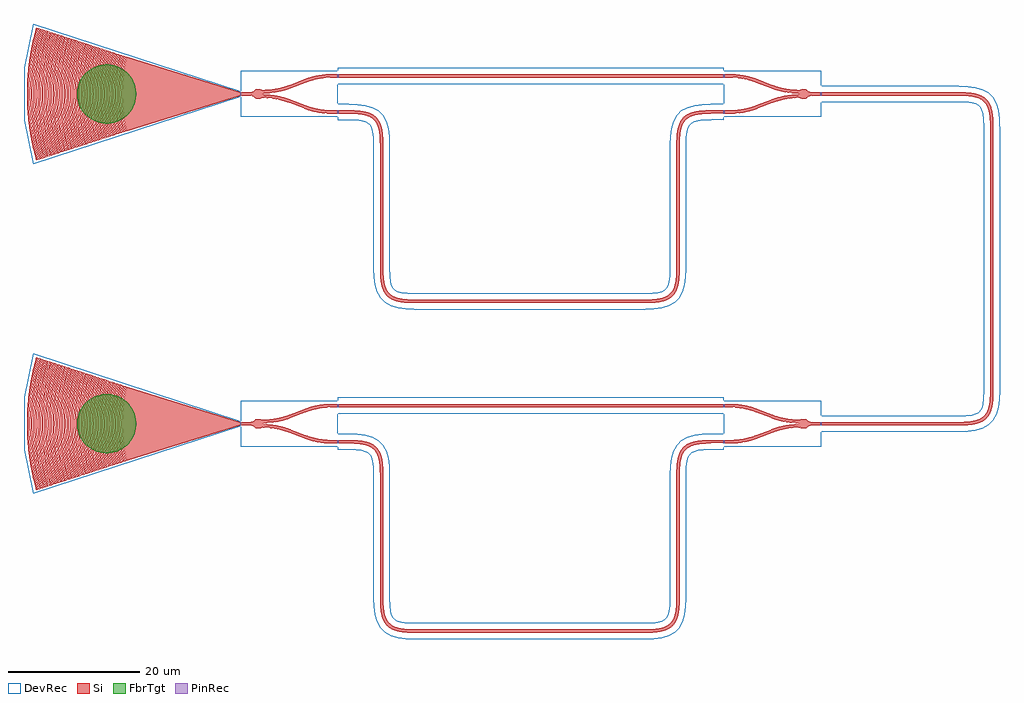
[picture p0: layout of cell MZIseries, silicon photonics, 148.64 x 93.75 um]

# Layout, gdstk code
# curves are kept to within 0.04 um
from math import pi, radians
import gdstk
lib = gdstk.Library(unit=1e-6, precision=1e-09)
def R(c, l, rs):  # rectangles x0, y0, x1, y1
    for r in rs: c.add(gdstk.rectangle(r[:2], r[2:], *l))
def P(c, l, *ps):  # polygons
    for p in ps: c.add(gdstk.Polygon(p, *l))
Si = (1, 0)
PinRec = (1, 10)
DevRec = (68, 0)
FbrTgt = (81, 0)

te1550_subgc_neg31_oxide = lib.new_cell('TE1550_SubGC_neg31_oxide')
P(te1550_subgc_neg31_oxide, Si, [(-17.556,-5.704),(-17.743,-4.914),(-17.881,-4.233),(-18.016,-3.437),(-18.095,-2.866),(-18.165,-2.237),(-18.222,-1.549),(-18.256,-0.918),(-18.274,-0.115),(-18.264,0.689),(-18.233,1.377),(-18.176,2.122),(-18.095,2.866),(-18.016,3.437),(-17.881,4.233),(-17.743,4.914),(-17.556,5.704),(-17.481,5.68),(-17.643,5.006),(-17.784,4.329),(-17.922,3.536),(-18.032,2.74),(-18.104,2.056),(-18.148,1.486),(-18.186,0.686),(-18.196,0.114),(-18.189,-0.572),(-18.165,-1.2),(-18.123,-1.828),(-18.058,-2.512),(-17.948,-3.365),(-17.826,-4.102),(-17.668,-4.893),(-17.481,-5.68)],
  [(-17.906,-5.818),(-18.207,-4.492),(-18.452,-2.982),(-18.601,-1.405),(-18.643,-0.117),(-18.601,1.405),(-18.452,2.982),(-18.207,4.492),(-17.906,5.818),(-17.659,5.738),(-17.932,4.544),(-18.188,2.998),(-18.338,1.443),(-18.383,0.116),(-18.338,-1.443),(-18.188,-2.998),(-17.932,-4.544),(-17.659,-5.738)],
  [(-18.084,-5.876),(-18.24,-5.237),(-18.4,-4.479),(-18.525,-3.776),(-18.629,-3.071),(-18.717,-2.305),(-18.772,-1.656),(-18.811,-0.946),(-18.83,-0.118),(-18.823,0.592),(-18.791,1.36),(-18.739,2.069),(-18.644,2.953),(-18.544,3.658),(-18.4,4.479),(-18.24,5.237),(-18.084,5.876),(-18.01,5.852),(-18.204,5.041),(-18.368,4.227),(-18.503,3.409),(-18.609,2.589),(-18.713,1.354),(-18.745,0.589),(-18.752,0.118),(-18.745,-0.589),(-18.713,-1.354),(-18.609,-2.589),(-18.503,-3.409),(-18.368,-4.227),(-18.204,-5.041),(-18.01,-5.852)],
  [(-18.435,-5.99),(-18.77,-4.506),(-19.001,-3.071),(-19.135,-1.748),(-19.199,-0.121),(-19.159,1.387),(-19.001,3.071),(-18.77,4.506),(-18.435,5.99),(-18.188,5.91),(-18.517,4.445),(-18.744,3.029),(-18.896,1.427),(-18.939,0.119),(-18.896,-1.427),(-18.759,-2.911),(-18.517,-4.445),(-18.188,-5.91)],
  [(-18.613,-6.048),(-18.815,-5.211),(-18.963,-4.49),(-19.099,-3.705),(-19.201,-2.979),(-19.269,-2.373),(-19.338,-1.522),(-19.369,-0.913),(-19.386,-0.122),(-19.377,0.67),(-19.349,1.339),(-19.286,2.191),(-19.201,2.979),(-19.099,3.705),(-18.963,4.49),(-18.815,5.211),(-18.613,6.048),(-18.539,6.024),(-18.713,5.309),(-18.876,4.532),(-19.013,3.751),(-19.131,2.907),(-19.203,2.242),(-19.264,1.455),(-19.291,0.91),(-19.308,0.121),(-19.299,-0.667),(-19.271,-1.334),(-19.239,-1.819),(-19.166,-2.605),(-19.076,-3.329),(-18.91,-4.352),(-18.753,-5.13),(-18.539,-6.024)],
  [(-18.964,-6.162),(-19.262,-4.881),(-19.533,-3.283),(-19.689,-1.799),(-19.755,-0.124),(-19.717,1.365),(-19.573,2.974),(-19.334,4.513),(-18.964,6.162),(-18.717,6.081),(-19.046,4.636),(-19.301,3.057),(-19.43,1.775),(-19.495,0.122),(-19.454,-1.408),(-19.301,-3.057),(-19.046,-4.636),(-18.717,-6.081)],
  [(-19.142,-6.22),(-19.337,-5.421),(-19.48,-4.742),(-19.625,-3.936),(-19.726,-3.251),(-19.808,-2.566),(-19.884,-1.691),(-19.924,-0.94),(-19.942,-0.125),(-19.934,0.626),(-19.9,1.44),(-19.833,2.316),(-19.758,3.002),(-19.635,3.874),(-19.516,4.556),(-19.337,5.421),(-19.142,6.22),(-19.068,6.195),(-19.289,5.277),(-19.44,4.538),(-19.587,3.673),(-19.696,2.866),(-19.772,2.12),(-19.822,1.435),(-19.853,0.749),(-19.864,0.125),(-19.853,-0.749),(-19.822,-1.435),(-19.772,-2.12),(-19.696,-2.866),(-19.587,-3.673),(-19.44,-4.538),(-19.289,-5.277),(-19.068,-6.195)],
  [(-19.493,-6.334),(-19.839,-4.829),(-20.107,-3.185),(-20.256,-1.658),(-20.311,-0.128),(-20.268,1.467),(-20.107,3.185),(-19.839,4.829),(-19.493,6.334),(-19.246,6.253),(-19.574,4.829),(-19.842,3.207),(-19.997,1.637),(-20.051,0.126),(-20.005,-1.511),(-19.866,-3.019),(-19.622,-4.581),(-19.246,-6.253)],
  [(-19.671,-6.391),(-19.843,-5.697),(-20.008,-4.937),(-20.149,-4.173),(-20.283,-3.278),(-20.379,-2.444),(-20.438,-1.738),(-20.482,-0.901),(-20.498,-0.129),(-20.482,0.901),(-20.438,1.738),(-20.379,2.444),(-20.283,3.278),(-20.149,4.173),(-20.008,4.937),(-19.843,5.697),(-19.671,6.391),(-19.597,6.367),(-19.797,5.55),(-20.005,4.538),(-20.153,3.648),(-20.246,2.946),(-20.325,2.179),(-20.373,1.539),(-20.404,0.898),(-20.42,0.128),(-20.412,-0.641),(-20.384,-1.347),(-20.336,-2.051),(-20.261,-2.819),(-20.153,-3.648),(-20.017,-4.474),(-19.825,-5.424),(-19.597,-6.367)],
  [(-20.022,-6.505),(-20.392,-4.896),(-20.656,-3.272),(-20.81,-1.704),(-20.867,-0.131),(-20.81,1.704),(-20.656,3.272),(-20.392,4.896),(-20.022,6.505),(-19.774,6.425),(-20.139,4.835),(-20.382,3.36),(-20.542,1.812),(-20.607,0.129),(-20.567,-1.424),(-20.399,-3.231),(-20.139,-4.835),(-19.774,-6.425)],
  [(-20.199,-6.563),(-20.437,-5.591),(-20.599,-4.809),(-20.726,-4.089),(-20.832,-3.367),(-20.931,-2.511),(-20.992,-1.785),(-21.04,-0.86),(-21.054,-0.132),(-21.044,0.728),(-21.001,1.653),(-20.931,2.511),(-20.849,3.235),(-20.726,4.089),(-20.599,4.809),(-20.437,5.591),(-20.199,6.563),(-20.125,6.539),(-20.347,5.635),(-20.523,4.791),(-20.67,3.943),(-20.804,2.961),(-20.878,2.239),(-20.923,1.647),(-20.962,0.857),(-20.976,0.132),(-20.966,-0.725),(-20.935,-1.449),(-20.878,-2.239),(-20.804,-2.961),(-20.67,-3.943),(-20.523,-4.791),(-20.347,-5.635),(-20.125,-6.539)],
  [(-20.55,-6.677),(-20.906,-5.158),(-21.205,-3.359),(-21.355,-1.883),(-21.423,-0.135),(-21.373,1.615),(-21.205,3.359),(-20.906,5.158),(-20.55,6.677),(-20.303,6.597),(-20.705,4.833),(-20.957,3.252),(-21.105,1.728),(-21.163,0.133),(-21.105,-1.728),(-20.957,-3.252),(-20.705,-4.833),(-20.303,-6.597)],
  [(-20.728,-6.735),(-20.912,-6.004),(-21.101,-5.136),(-21.249,-4.331),(-21.372,-3.523),(-21.483,-2.577),(-21.546,-1.832),(-21.593,-0.95),(-21.61,-0.136),(-21.593,0.95),(-21.555,1.696),(-21.483,2.577),(-21.39,3.388),(-21.249,4.331),(-21.101,5.136),(-20.912,6.004),(-20.728,6.735),(-20.654,6.711),(-20.868,5.85),(-21.025,5.118),(-21.195,4.181),(-21.33,3.241),(-21.412,2.5),(-21.473,1.758),(-21.515,0.947),(-21.532,0.135),(-21.525,-0.609),(-21.497,-1.352),(-21.448,-2.095),(-21.37,-2.904),(-21.237,-3.913),(-21.077,-4.85),(-20.868,-5.85),(-20.654,-6.711)],
  [(-21.079,-6.849),(-21.432,-5.359),(-21.736,-3.583),(-21.923,-1.725),(-21.979,-0.138),(-21.923,1.725),(-21.772,3.308),(-21.473,5.155),(-21.079,6.849),(-20.832,6.769),(-21.207,5.162),(-21.47,3.608),(-21.664,1.705),(-21.719,0.136),(-21.664,-1.705),(-21.515,-3.269),(-21.207,-5.162),(-20.832,-6.769)],
  [(-21.257,-6.907),(-21.494,-5.953),(-21.655,-5.199),(-21.817,-4.304),(-21.93,-3.544),(-22.042,-2.574),(-22.105,-1.81),(-22.146,-1.044),(-22.166,-0.139),(-22.159,0.627),(-22.114,1.67),(-22.042,2.574),(-21.957,3.336),(-21.817,4.304),(-21.655,5.199),(-21.494,5.953),(-21.257,6.907),(-21.183,6.883),(-21.419,5.932),(-21.606,5.044),(-21.773,4.083),(-21.888,3.256),(-21.971,2.495),(-22.036,1.665),(-22.073,0.902),(-22.088,0.139),(-22.081,-0.624),(-22.052,-1.387),(-22.001,-2.149),(-21.905,-3.117),(-21.773,-4.083),(-21.606,-5.044),(-21.419,-5.932),(-21.183,-6.883)],
  [(-21.608,-7.021),(-21.985,-5.425),(-22.294,-3.603),(-22.482,-1.698),(-22.535,-0.142),(-22.482,1.698),(-22.294,3.603),(-21.985,5.425),(-21.608,7.021),(-21.361,6.941),(-21.761,5.224),(-22.028,3.631),(-22.218,1.749),(-22.275,0.14),(-22.227,-1.609),(-22.073,-3.283),(-21.788,-5.086),(-21.361,-6.941)],
  [(-21.786,-7.079),(-21.964,-6.381),(-22.167,-5.469),(-22.302,-4.765),(-22.469,-3.704),(-22.565,-2.923),(-22.649,-1.997),(-22.704,-0.999),(-22.722,-0.143),(-22.713,0.714),(-22.677,1.57),(-22.601,2.567),(-22.488,3.562),(-22.374,4.341),(-22.195,5.329),(-22.03,6.101),(-21.786,7.079),(-21.712,7.055),(-21.922,6.22),(-22.161,5.1),(-22.308,4.256),(-22.447,3.267),(-22.53,2.487),(-22.586,1.778),(-22.626,0.996),(-22.644,0.142),(-22.635,-0.711),(-22.595,-1.635),(-22.53,-2.487),(-22.447,-3.267),(-22.308,-4.256),(-22.161,-5.1),(-21.922,-6.22),(-21.712,-7.055)],
  [(-22.137,-7.193),(-22.54,-5.486),(-22.843,-3.692),(-23.011,-2.102),(-23.091,-0.145),(-23.045,1.595),(-22.862,3.547),(-22.54,5.486),(-22.137,7.193),(-21.89,7.112),(-22.287,5.425),(-22.596,3.579),(-22.777,1.721),(-22.831,0.143),(-22.777,-1.721),(-22.596,-3.579),(-22.287,-5.425),(-21.89,-7.112)],
  [(-22.315,-7.25),(-22.549,-6.321),(-22.736,-5.458),(-22.895,-4.592),(-23.047,-3.576),(-23.139,-2.776),(-23.218,-1.827),(-23.262,-0.951),(-23.278,-0.146),(-23.262,0.951),(-23.218,1.827),(-23.139,2.776),(-23.047,3.576),(-22.895,4.592),(-22.736,5.458),(-22.549,6.321),(-22.315,7.25),(-22.24,7.226),(-22.457,6.372),(-22.646,5.512),(-22.843,4.432),(-22.979,3.492),(-23.076,2.621),(-23.145,1.748),(-23.184,0.947),(-23.2,0.146),(-23.194,-0.583),(-23.158,-1.53),(-23.102,-2.33),(-23.006,-3.274),(-22.899,-4.071),(-22.73,-5.081),(-22.507,-6.157),(-22.24,-7.226)],
  [(-22.666,-7.364),(-23.095,-5.545),(-23.392,-3.78),(-23.581,-1.93),(-23.647,-0.149),(-23.586,1.856),(-23.421,3.559),(-23.095,5.545),(-22.666,7.364),(-22.418,7.284),(-22.842,5.484),(-23.145,3.666),(-23.311,2.056),(-23.387,0.147),(-23.336,-1.689),(-23.145,-3.666),(-22.842,-5.484),(-22.418,-7.284)],
  [(-22.843,-7.422),(-23.067,-6.545),(-23.262,-5.662),(-23.441,-4.701),(-23.556,-3.959),(-23.691,-2.842),(-23.762,-2.02),(-23.815,-1.048),(-23.834,-0.15),(-23.82,0.898),(-23.782,1.721),(-23.713,2.618),(-23.606,3.587),(-23.441,4.701),(-23.277,5.588),(-23.067,6.545),(-22.843,7.422),(-22.769,7.398),(-22.992,6.523),(-23.201,5.57),(-23.389,4.538),(-23.538,3.501),(-23.642,2.535),(-23.704,1.716),(-23.742,0.895),(-23.756,0.149),(-23.742,-0.895),(-23.704,-1.716),(-23.642,-2.535),(-23.565,-3.278),(-23.401,-4.464),(-23.23,-5.423),(-22.992,-6.523),(-22.769,-7.398)],
  [(-23.194,-7.536),(-23.605,-5.824),(-23.951,-3.793),(-24.135,-1.976),(-24.203,-0.152),(-24.15,1.748),(-23.961,3.718),(-23.605,5.824),(-23.194,7.536),(-22.947,7.456),(-23.368,5.688),(-23.684,3.827),(-23.876,1.955),(-23.943,0.15),(-23.886,-1.804),(-23.704,-3.678),(-23.383,-5.614),(-22.947,-7.456)],
  [(-23.372,-7.594),(-23.602,-6.696),(-23.802,-5.793),(-23.96,-4.962),(-24.115,-3.975),(-24.219,-3.137),(-24.316,-2.067),(-24.373,-0.996),(-24.39,-0.153),(-24.373,0.996),(-24.316,2.067),(-24.219,3.137),(-24.115,3.975),(-23.96,4.962),(-23.802,5.793),(-23.602,6.696),(-23.372,7.594),(-23.298,7.57),(-23.562,6.525),(-23.801,5.399),(-23.971,4.417),(-24.088,3.583),(-24.188,2.67),(-24.249,1.908),(-24.295,0.993),(-24.312,0.153),(-24.3,-0.84),(-24.263,-1.68),(-24.195,-2.594),(-24.088,-3.583),(-23.971,-4.417),(-23.801,-5.399),(-23.562,-6.525),(-23.298,-7.57)],
  [(-23.723,-7.708),(-24.145,-5.957),(-24.479,-4.035),(-24.678,-2.176),(-24.759,-0.156),(-24.709,1.71),(-24.5,3.88),(-24.145,5.957),(-23.723,7.708),(-23.476,7.628),(-23.908,5.819),(-24.233,3.916),(-24.43,2),(-24.499,0.154),(-24.43,-2),(-24.233,-3.916),(-23.908,-5.819),(-23.476,-7.628)],
  [(-23.901,-7.766),(-24.137,-6.848),(-24.358,-5.848),(-24.518,-4.997),(-24.674,-3.987),(-24.779,-3.13),(-24.87,-2.115),(-24.916,-1.332),(-24.946,-0.157),(-24.931,0.94),(-24.891,1.802),(-24.803,2.896),(-24.695,3.832),(-24.531,4.92),(-24.358,5.848),(-24.137,6.848),(-23.901,7.766),(-23.827,7.742),(-24.098,6.674),(-24.313,5.676),(-24.493,4.672),(-24.638,3.665),(-24.733,2.809),(-24.803,1.952),(-24.848,1.094),(-24.868,0.156),(-24.858,-0.781),(-24.818,-1.718),(-24.733,-2.809),(-24.638,-3.665),(-24.493,-4.672),(-24.313,-5.676),(-24.098,-6.674),(-23.827,-7.742)],
  [(-24.252,-7.88),(-24.717,-5.934),(-25.049,-3.967),(-25.232,-2.225),(-25.315,-0.159),(-25.259,1.828),(-25.07,3.809),(-24.717,5.934),(-24.252,7.88),(-24.005,7.8),(-24.464,5.873),(-24.782,4.005),(-24.973,2.202),(-25.055,0.157),(-25.009,-1.652),(-24.803,-3.848),(-24.464,-5.873),(-24.005,-7.8)],
  [(-24.43,-7.938),(-24.709,-6.843),(-24.866,-6.135),(-25.049,-5.187),(-25.234,-3.997),(-25.339,-3.12),(-25.424,-2.162),(-25.478,-1.202),(-25.502,-0.16),(-25.489,0.881),(-25.435,2.002),(-25.339,3.12),(-25.234,3.997),(-25.049,5.187),(-24.866,6.135),(-24.709,6.843),(-24.43,7.938),(-24.356,7.914),(-24.634,6.822),(-24.839,5.881),(-25,5.014),(-25.178,3.826),(-25.278,2.952),(-25.352,2.075),(-25.397,1.278),(-25.424,0.16),(-25.409,-0.958),(-25.377,-1.677),(-25.293,-2.792),(-25.198,-3.667),(-25.052,-4.697),(-24.839,-5.881),(-24.634,-6.822),(-24.356,-7.914)],
  [(-24.781,-8.052),(-25.241,-6.144),(-25.576,-4.216),(-25.803,-2.031),(-25.871,-0.163),(-25.803,2.031),(-25.609,3.974),(-25.274,5.984),(-24.781,8.052),(-24.533,7.971),(-24.972,6.161),(-25.308,4.253),(-25.544,2.01),(-25.611,0.161),(-25.544,-2.01),(-25.352,-3.934),(-25.021,-5.924),(-24.533,-7.971)],
  [(-24.959,-8.11),(-25.187,-7.232),(-25.423,-6.188),(-25.635,-5.057),(-25.772,-4.165),(-25.891,-3.188),(-25.984,-2.127),(-26.03,-1.31),(-26.058,-0.164),(-26.045,0.9),(-25.995,1.964),(-25.891,3.188),(-25.794,4.002),(-25.635,5.057),(-25.423,6.188),(-25.187,7.232),(-24.959,8.11),(-24.884,8.085),(-25.15,7.051),(-25.38,6.009),(-25.572,4.961),(-25.738,3.828),(-25.846,2.853),(-25.917,1.958),(-25.967,0.898),(-25.98,0.163),(-25.967,-0.898),(-25.932,-1.713),(-25.868,-2.609),(-25.768,-3.585),(-25.624,-4.638),(-25.412,-5.848),(-25.207,-6.811),(-24.884,-8.085)],
  [(-25.31,-8.224),(-25.815,-6.112),(-26.136,-4.224),(-26.357,-2.074),(-26.427,-0.166),(-26.368,1.909),(-26.18,3.894),(-25.815,6.112),(-25.31,8.224),(-25.062,8.143),(-25.512,6.295),(-25.868,4.264),(-26.098,2.054),(-26.167,0.164),(-26.123,-1.644),(-25.923,-3.856),(-25.562,-6.052),(-25.062,-8.143)],
  [(-25.487,-8.281),(-25.761,-7.222),(-25.946,-6.402),(-26.152,-5.33),(-26.321,-4.254),(-26.451,-3.173),(-26.532,-2.256),(-26.589,-1.254),(-26.614,-0.167),(-26.598,1.003),(-26.538,2.172),(-26.451,3.173),(-26.321,4.254),(-26.152,5.33),(-25.946,6.402),(-25.761,7.222),(-25.487,8.281),(-25.413,8.257),(-25.686,7.201),(-25.921,6.137),(-26.118,5.067),(-26.288,3.91),(-26.374,3.164),(-26.466,2.083),(-26.511,1.25),(-26.536,0.167),(-26.525,-0.834),(-26.482,-1.833),(-26.406,-2.831),(-26.288,-3.91),(-26.118,-5.067),(-25.921,-6.137),(-25.686,-7.201),(-25.413,-8.257)],
  [(-25.838,-8.395),(-26.339,-6.323),(-26.685,-4.312),(-26.887,-2.456),(-26.983,-0.17),(-26.917,2.033),(-26.708,4.144),(-26.356,6.24),(-25.838,8.395),(-25.591,8.315),(-26.086,6.263),(-26.44,4.188),(-26.658,2.014),(-26.723,0.168),(-26.658,-2.014),(-26.44,-4.188),(-26.086,-6.263),(-25.591,-8.315)],
  [(-26.016,-8.453),(-26.256,-7.539),(-26.503,-6.451),(-26.697,-5.441),(-26.858,-4.427),(-26.976,-3.494),(-27.086,-2.303),(-27.144,-1.28),(-27.17,-0.085),(-27.156,0.939),(-27.098,2.133),(-27.012,3.154),(-26.893,4.173),(-26.726,5.272),(-26.538,6.283),(-26.256,7.539),(-26.016,8.453),(-25.942,8.429),(-26.261,7.184),(-26.479,6.181),(-26.664,5.173),(-26.838,3.992),(-26.943,3.06),(-27.026,2.042),(-27.078,0.936),(-27.092,0.085),(-27.078,-0.936),(-27.026,-2.042),(-26.943,-3.06),(-26.838,-3.992),(-26.664,-5.173),(-26.479,-6.181),(-26.261,-7.184),(-25.942,-8.429)],
  [(-26.367,-8.567),(-26.897,-6.368),(-27.246,-4.315),(-27.466,-2.162),(-27.539,-0.087),(-27.466,2.162),(-27.246,4.315),(-26.897,6.368),(-26.367,8.567),(-26.12,8.487),(-26.644,6.308),(-26.989,4.275),(-27.218,1.97),(-27.279,0.086),(-27.218,-1.97),(-26.989,-4.275),(-26.644,-6.308),(-26.12,-8.487)],
  [(-26.545,-8.625),(-26.832,-7.522),(-27.079,-6.411),(-27.286,-5.294),(-27.442,-4.258),(-27.573,-3.132),(-27.658,-2.089),(-27.712,-0.958),(-27.726,-0.087),(-27.712,0.958),(-27.658,2.089),(-27.573,3.132),(-27.442,4.258),(-27.286,5.294),(-27.079,6.411),(-26.832,7.522),(-26.545,8.625),(-26.471,8.601),(-26.777,7.416),(-27.003,6.393),(-27.195,5.365),(-27.365,4.246),(-27.487,3.209),(-27.586,1.997),(-27.634,0.955),(-27.648,0.087),(-27.634,-0.955),(-27.586,-1.997),(-27.52,-2.863),(-27.42,-3.815),(-27.265,-4.935),(-27.071,-6.051),(-26.817,-7.246),(-26.63,-8.01),(-26.471,-8.601)],
  [(-26.896,-8.739),(-27.402,-6.67),(-27.783,-4.49),(-28.014,-2.293),(-28.095,-0.088),(-28.026,2.117),(-27.807,4.315),(-27.438,6.496),(-26.896,8.739),(-26.649,8.659),(-27.185,6.436),(-27.55,4.275),(-27.761,2.185),(-27.835,0.087),(-27.761,-2.185),(-27.55,-4.275),(-27.185,-6.436),(-26.649,-8.659)],
  [(-27.074,-8.797),(-27.346,-7.759),(-27.602,-6.627),(-27.802,-5.576),(-27.955,-4.608),(-28.098,-3.46),(-28.194,-2.397),(-28.255,-1.332),(-28.282,-0.089),(-28.265,1.066),(-28.218,2.042),(-28.134,3.106),(-28.015,4.167),(-27.832,5.4),(-27.62,6.539),(-27.346,7.759),(-27.074,8.797),(-27,8.773),(-27.292,7.651),(-27.544,6.521),(-27.77,5.297),(-27.949,4.067),(-28.048,3.186),(-28.129,2.214),(-28.184,1.152),(-28.204,0.089),(-28.187,-1.063),(-28.146,-1.948),(-28.073,-2.921),(-27.949,-4.067),(-27.77,-5.297),(-27.544,-6.521),(-27.292,-7.651),(-27,-8.773)],
  [(-27.425,-8.911),(-27.979,-6.624),(-28.344,-4.489),(-28.568,-2.339),(-28.651,-0.09),(-28.568,2.339),(-28.344,4.489),(-27.979,6.624),(-27.425,8.911),(-27.177,8.83),(-27.708,6.652),(-28.075,4.537),(-28.309,2.317),(-28.391,0.089),(-28.309,-2.317),(-28.075,-4.537),(-27.708,-6.652),(-27.177,-8.83)],
  [(-27.603,-8.969),(-27.881,-7.91),(-28.124,-6.845),(-28.347,-5.685),(-28.529,-4.518),(-28.678,-3.257),(-28.761,-2.264),(-28.814,-1.268),(-28.838,-0.091),(-28.826,0.906),(-28.761,2.264),(-28.678,3.257),(-28.529,4.518),(-28.347,5.685),(-28.124,6.845),(-27.881,7.91),(-27.603,8.969),(-27.528,8.944),(-27.806,7.889),(-28.085,6.649),(-28.316,5.402),(-28.476,4.327),(-28.582,3.428),(-28.677,2.348),(-28.736,1.265),(-28.76,0.09),(-28.748,-0.903),(-28.695,-2.077),(-28.609,-3.158),(-28.499,-4.147),(-28.331,-5.312),(-28.121,-6.472),(-27.87,-7.624),(-27.528,-8.944)],
  [(-27.953,-9.083),(-28.52,-6.752),(-28.893,-4.576),(-29.135,-2.201),(-29.207,-0.092),(-29.135,2.201),(-28.918,4.394),(-28.52,6.752),(-27.953,9.083),(-27.706,9.002),(-28.23,6.871),(-28.624,4.626),(-28.863,2.363),(-28.947,0.091),(-28.887,-2),(-28.649,-4.445),(-28.23,-6.871),(-27.706,-9.002)],
  [(-28.131,-9.14),(-28.416,-8.062),(-28.645,-7.068),(-28.86,-5.977),(-29.078,-4.605),(-29.221,-3.412),(-29.315,-2.307),(-29.373,-1.2),(-29.394,-0.092),(-29.373,1.2),(-29.315,2.307),(-29.221,3.412),(-29.078,4.605),(-28.86,5.977),(-28.645,7.068),(-28.416,8.062),(-28.131,9.14),(-28.057,9.116),(-28.363,7.951),(-28.663,6.596),(-28.892,5.323),(-29.061,4.136),(-29.179,3.036),(-29.255,2.025),(-29.301,1.013),(-29.316,0.092),(-29.301,-1.013),(-29.255,-2.025),(-29.179,-3.036),(-29.061,-4.136),(-28.892,-5.323),(-28.663,-6.596),(-28.363,-7.951),(-28.057,-9.116)],
  [(-28.482,-9.254),(-29.003,-7.156),(-29.416,-4.849),(-29.683,-2.336),(-29.763,-0.094),(-29.683,2.336),(-29.455,4.57),(-29.042,6.972),(-28.482,9.254),(-28.235,9.174),(-28.77,7.003),(-29.173,4.714),(-29.424,2.316),(-29.503,0.093),(-29.424,-2.316),(-29.173,-4.714),(-28.77,-7.003),(-28.235,-9.174)],
  [(-28.66,-9.312),(-28.928,-8.306),(-29.224,-7.016),(-29.421,-5.996),(-29.601,-4.879),(-29.733,-3.851),(-29.863,-2.445),(-29.925,-1.317),(-29.95,-0.094),(-29.937,0.941),(-29.882,2.163),(-29.792,3.289),(-29.64,4.599),(-29.437,5.904),(-29.224,7.016),(-28.928,8.306),(-28.66,9.312),(-28.586,9.288),(-28.898,8.101),(-29.148,6.998),(-29.393,5.703),(-29.563,4.587),(-29.696,3.467),(-29.798,2.251),(-29.847,1.314),(-29.872,0.094),(-29.862,-0.845),(-29.798,-2.251),(-29.696,-3.467),(-29.563,-4.587),(-29.393,-5.703),(-29.148,-6.998),(-28.898,-8.101),(-28.586,-9.288)],
  [(-29.011,-9.426),(-29.563,-7.196),(-29.965,-4.939),(-30.237,-2.38),(-30.319,-0.095),(-30.25,2.19),(-30.017,4.561),(-29.602,7.008),(-29.011,9.426),(-28.764,9.346),(-29.33,7.041),(-29.735,4.709),(-29.978,2.359),(-30.059,0.094),(-29.978,-2.359),(-29.735,-4.709),(-29.33,-7.041),(-28.764,-9.346)],
  [(-29.189,-9.484),(-29.554,-8.085),(-29.784,-7.052),(-29.999,-5.918),(-30.163,-4.874),(-30.295,-3.827),(-30.417,-2.49),(-30.484,-1.246),(-30.506,-0.096),(-30.484,1.246),(-30.417,2.49),(-30.295,3.827),(-30.163,4.874),(-29.999,5.918),(-29.784,7.052),(-29.554,8.085),(-29.189,9.484),(-29.115,9.46),(-29.456,8.158),(-29.708,7.034),(-29.97,5.62),(-30.125,4.577),(-30.248,3.532),(-30.346,2.388),(-30.406,1.242),(-30.428,0.096),(-30.406,-1.242),(-30.346,-2.388),(-30.248,-3.532),(-30.125,-4.577),(-29.97,-5.62),(-29.708,-7.034),(-29.456,-8.158),(-29.115,-9.46)],
  [(-29.54,-9.598),(-30.143,-7.137),(-30.554,-4.741),(-30.798,-2.327),(-30.875,-0.097),(-30.798,2.327),(-30.554,4.741),(-30.143,7.137),(-29.54,9.598),(-29.293,9.518),(-29.89,7.077),(-30.284,4.796),(-30.539,2.307),(-30.615,0.096),(-30.539,-2.307),(-30.284,-4.796),(-29.89,-7.077),(-29.293,-9.518)],
  [(-29.718,-9.656),(-29.997,-8.613),(-30.285,-7.371),(-30.493,-6.315),(-30.712,-4.963),(-30.857,-3.8),(-30.964,-2.633),(-31.036,-1.366),(-31.062,-0.098),(-31.046,1.073),(-30.991,2.243),(-30.897,3.411),(-30.752,4.673),(-30.561,5.929),(-30.345,7.084),(-30.044,8.422),(-29.718,9.656),(-29.643,9.632),(-29.969,8.401),(-30.269,7.066),(-30.501,5.818),(-30.7,4.468),(-30.829,3.306),(-30.907,2.335),(-30.965,1.168),(-30.984,0.097),(-30.965,-1.168),(-30.907,-2.335),(-30.829,-3.306),(-30.7,-4.468),(-30.501,-5.818),(-30.269,-7.066),(-29.969,-8.401),(-29.643,-9.632)],
  [(-30.069,-9.77),(-30.664,-7.362),(-31.09,-4.924),(-31.346,-2.467),(-31.431,-0.099),(-31.346,2.467),(-31.09,4.924),(-30.664,7.362),(-30.069,9.77),(-29.821,9.69),(-30.411,7.301),(-30.833,4.883),(-31.093,2.349),(-31.171,0.098),(-31.093,-2.349),(-30.833,-4.883),(-30.411,-7.301),(-29.821,-9.69)],
  [(-30.246,-9.828),(-30.603,-8.475),(-30.866,-7.308),(-31.107,-6.035),(-31.288,-4.855),(-31.43,-3.67),(-31.539,-2.382),(-31.595,-1.291),(-31.618,-0.099),(-31.595,1.291),(-31.539,2.382),(-31.43,3.67),(-31.288,4.855),(-31.107,6.035),(-30.866,7.308),(-30.603,8.475),(-30.246,9.828),(-30.172,9.804),(-30.528,8.455),(-30.77,7.387),(-30.907,6.705),(-31.047,5.922),(-31.211,4.843),(-31.342,3.759),(-31.461,2.377),(-31.517,1.288),(-31.54,0.099),(-31.529,-0.892),(-31.474,-2.179),(-31.391,-3.266),(-31.25,-4.548),(-31.047,-5.922),(-30.83,-7.095),(-30.528,-8.455),(-30.172,-9.804)],
  [(-30.597,-9.942),(-31.225,-7.393),(-31.625,-5.111),(-31.893,-2.611),(-31.987,-0.1),(-31.907,2.41),(-31.653,4.911),(-31.225,7.393),(-30.597,9.942),(-30.35,9.861),(-30.931,7.529),(-31.396,4.872),(-31.641,2.49),(-31.727,0.1),(-31.641,-2.49),(-31.396,-4.872),(-30.931,-7.529),(-30.35,-9.861)],
  [(-30.775,-9.999),(-31.09,-8.821),(-31.344,-7.734),(-31.564,-6.64),(-31.795,-5.241),(-31.95,-4.036),(-32.072,-2.727),(-32.129,-1.819),(-32.154,-1.213),(-32.174,-0.101),(-32.154,1.213),(-32.1,2.323),(-32.012,3.432),(-31.851,4.84),(-31.686,5.941),(-31.428,7.337),(-31.139,8.624),(-30.775,9.999),(-30.701,9.975),(-31.015,8.8),(-31.18,8.11),(-31.352,7.319),(-31.593,6.027),(-31.774,4.828),(-31.915,3.625),(-32.009,2.519),(-32.069,1.411),(-32.096,0.101),(-32.076,-1.21),(-32.009,-2.519),(-31.915,-3.625),(-31.774,-4.828),(-31.593,-6.027),(-31.352,-7.319),(-31.18,-8.11),(-31.015,-8.8),(-30.701,-9.975)],
  [(-31.126,-10.114),(-31.724,-7.722),(-32.174,-5.199),(-32.447,-2.656),(-32.543,-0.102),(-32.519,1.329),(-32.447,2.656),(-32.174,5.199),(-31.724,7.722),(-31.126,10.114),(-30.879,10.033),(-31.471,7.66),(-31.917,5.158),(-32.188,2.635),(-32.283,0.101),(-32.202,-2.433),(-31.959,-4.856),(-31.534,-7.361),(-31.244,-8.653),(-30.879,-10.033)],
  [(-17.378,-5.646),(-17.678,-4.303),(-17.903,-2.893),(-18.043,-1.42),(-18.087,-0.114),(-18.05,1.306),(-17.924,2.724),(-17.678,4.303),(-17.378,5.646),(0,0.25),(0,-0.25)])
te1550_subgc_neg31_oxide.add(gdstk.Label('Ref: Yun Wang, Optics Express, 08/2014', (-33,0), layer=10, texttype=0))
te1550_subgc_neg31_oxide.add(gdstk.Label('http://dx.doi.org/10.1364/OE.22.020652', (-33,-2), layer=10, texttype=0))
te1550_subgc_neg31_oxide.add(gdstk.Label('TE 1550 -31 deg', (-33,2), layer=10, texttype=0))

opticalfibre_9micron = lib.new_cell('OpticalFibre_9micron')
P(opticalfibre_9micron, FbrTgt, [(-0.221,-4.5),(-1.095,-4.37),(-1.926,-4.073),(-2.684,-3.619),(-3.338,-3.026),(-3.864,-2.316),(-4.242,-1.518),(-4.457,-0.661),(-4.5,0.221),(-4.37,1.095),(-4.073,1.926),(-3.619,2.684),(-3.026,3.338),(-2.316,3.864),(-1.518,4.242),(-0.661,4.457),(0.221,4.5),(1.095,4.37),(1.926,4.073),(2.684,3.619),(3.338,3.026),(3.864,2.316),(4.242,1.518),(4.457,0.661),(4.5,-0.221),(4.37,-1.095),(4.073,-1.926),(3.619,-2.684),(3.026,-3.338),(2.316,-3.864),(1.518,-4.242),(0.661,-4.457)])

ebeam_gc_te1550 = lib.new_cell('ebeam_gc_te1550')
R(ebeam_gc_te1550, Si, [(-0.001,-0.001,0.001,0.001)])
P(ebeam_gc_te1550, DevRec, [(-31.6,-10.7),(-33,-4),(-33,4),(-31.6,10.7),(0,0.4),(0,-0.4)])
ebeam_gc_te1550.add(gdstk.FlexPath([(-0.1,0),(0.1,0)], 0.5, ends="flush", simple_path=True, layer=1, datatype=10))  # PinRec
ebeam_gc_te1550.add(gdstk.Reference(te1550_subgc_neg31_oxide, (0,0)))
ebeam_gc_te1550.add(gdstk.Reference(opticalfibre_9micron, (-20.4,0)))
ebeam_gc_te1550.add(gdstk.Label('pin1', (0,0), layer=1, texttype=10))
ebeam_gc_te1550.add(gdstk.Label('Component=ebeam_gc_te1550', (-28,-5), layer=68, texttype=0))
ebeam_gc_te1550.add(gdstk.Label('Lumerical_INTERCONNECT_library=Design kits/ebeam', (-29,-7), layer=68, texttype=0))

ybranch_compact = lib.new_cell('YBranch_Compact')
R(ybranch_compact, Si, [(14,-3,14.9,-2.5), (0.1,-0.25,1.5,0.25), (14,2.5,14.9,3)])
P(ybranch_compact, Si, [(13.958,-3),(13.737,-2.997),(13.737,-2.497),(14,-2.5),(14,-3)],
  [(12.533,-2.908),(11.09,-2.634),(9.765,-2.21),(9.945,-1.744),(11.231,-2.154),(12.533,-2.404)],
  [(13.733,-2.997),(12.533,-2.908),(12.533,-2.404),(13.737,-2.497)],
  [(9.765,-2.21),(7.555,-1.356),(7.735,-0.89),(9.945,-1.744)],
  [(6.738,-1.076),(5.166,-0.724),(3.5,-0.6),(3.5,-0.1),(5.119,-0.212),(6.738,-0.555)],
  [(7.555,-1.356),(6.738,-1.076),(6.738,-0.555),(7.735,-0.89)],
  [(13.737,2.497),(13.737,2.997),(14,3),(14,2.5)],
  [(9.945,1.744),(9.767,2.211),(11.09,2.634),(12.533,2.908),(12.533,2.404),(11.231,2.154)],
  [(12.533,2.404),(12.533,2.908),(13.737,2.997),(13.737,2.497)],
  [(7.735,0.89),(7.555,1.356),(9.765,2.21),(9.945,1.744)],
  [(3.5,0.1),(3.5,0.6),(5.166,0.724),(6.738,1.076),(6.738,0.555),(5.119,0.212)],
  [(6.738,0.555),(6.738,1.076),(7.555,1.356),(7.735,0.89)],
  [(2.378,-0.662),(2.058,-0.374),(1.692,-0.255),(1.5,-0.25),(1.5,0.25),(1.683,0.253),(2.058,0.374),(2.378,0.662)],
  [(2.543,-0.703),(2.378,-0.662),(2.378,0.662),(2.962,0.703),(3.5,0.6),(3.5,-0.6),(2.991,-0.701)])
ybranch_compact.add(gdstk.Label('Ref: Y Zhang, Opt. Express, 21/1, 2013', (0,-1), layer=10, texttype=0))

ebeam_y_1550 = lib.new_cell('ebeam_y_1550')
R(ebeam_y_1550, DevRec, [(-7.4,-3.5,7.4,3.5)])
ebeam_y_1550.add(gdstk.FlexPath([(7.3,2.75),(7.5,2.75)], 0.5, ends="flush", simple_path=True, layer=1, datatype=10))  # PinRec
ebeam_y_1550.add(gdstk.FlexPath([(7.3,-2.75),(7.5,-2.75)], 0.5, ends="flush", simple_path=True, layer=1, datatype=10))  # PinRec
ebeam_y_1550.add(gdstk.FlexPath([(-7.3,0),(-7.5,0)], 0.5, ends="flush", simple_path=True, layer=1, datatype=10))  # PinRec
ebeam_y_1550.add(gdstk.Reference(ybranch_compact, (-7.5,0)))
ebeam_y_1550.add(gdstk.Label('pin2', (7.4,2.75), layer=1, texttype=10))
ebeam_y_1550.add(gdstk.Label('pin3', (7.4,-2.75), layer=1, texttype=10))
ebeam_y_1550.add(gdstk.Label('pin1', (-7.4,0), layer=1, texttype=10))
ebeam_y_1550.add(gdstk.Label('Component=ebeam_y_1550', (-6,1.5), layer=68, texttype=0))
ebeam_y_1550.add(gdstk.Label('Lumerical_INTERCONNECT_library=Design kits/ebeam', (-6.86,-2.19), layer=68, texttype=0))

waveguide = lib.new_cell('Waveguide')
R(waveguide, Si, [(-4.27,6.38,54.53,6.88)])
R(waveguide, DevRec, [(-4.27,5.38,54.53,7.88)])
waveguide.add(gdstk.FlexPath([(-4.22,6.63),(-4.32,6.63)], 0.5, ends="flush", simple_path=True, layer=1, datatype=10))  # PinRec
waveguide.add(gdstk.FlexPath([(54.48,6.63),(54.58,6.63)], 0.5, ends="flush", simple_path=True, layer=1, datatype=10))  # PinRec
waveguide.add(gdstk.Label('pin1', (-4.27,6.63), layer=1, texttype=10))
waveguide.add(gdstk.Label('pin2', (54.53,6.63), layer=1, texttype=10))
waveguide.add(gdstk.Label('Lumerical_INTERCONNECT_library=Design kits/ebeam', (-4.27,6.63), layer=68, texttype=0))
waveguide.add(gdstk.Label('Component=ebeam_wg_integral_1550', (-4.27,7.13), layer=68, texttype=0))
waveguide.add(gdstk.Label('Spice_param:wg_length=58.800u wg_width=0.500u points="[[-4.27,6.63],[54.53,6.63]]" radius=5.0', (-4.27,6.13), layer=68, texttype=0))

waveguide_1 = lib.new_cell('Waveguide$1')
P(waveguide_1, Si, [(7.397,-29.83),(6.261,-29.797),(5.284,-29.687),(4.454,-29.485),(3.825,-29.21),(3.248,-28.782),(2.845,-28.282),(2.546,-27.674),(2.342,-26.958),(2.216,-26.126),(2.152,-24.939),(2.142,-5.173),(2.015,-3.718),(1.76,-2.768),(1.532,-2.315),(1.203,-1.907),(0.834,-1.617),(0.318,-1.364),(-0.404,-1.165),(-1.394,-1.038),(-4.27,-1),(-4.27,-0.5),(-1.462,-0.532),(-0.485,-0.642),(0.268,-0.819),(0.911,-1.084),(1.447,-1.452),(1.874,-1.927),(2.224,-2.582),(2.522,-3.726),(2.642,-5.159),(2.65,-24.699),(2.688,-25.786),(2.815,-26.776),(3.014,-27.498),(3.267,-28.014),(3.638,-28.462),(4.069,-28.774),(4.681,-29.034),(5.368,-29.195),(6.193,-29.291),(7.401,-29.33),(42.891,-29.328),(43.844,-29.284),(44.736,-29.165),(45.458,-28.966),(45.974,-28.713),(46.499,-28.254),(46.875,-27.623),(47.124,-26.777),(47.251,-25.787),(47.292,-5.391),(47.378,-4.007),(47.585,-2.961),(47.874,-2.239),(48.337,-1.599),(48.9,-1.157),(49.521,-0.87),(50.334,-0.659),(51.401,-0.533),(54.53,-0.5),(54.53,-1),(51.235,-1.047),(50.186,-1.199),(49.497,-1.415),(49.005,-1.684),(48.58,-2.077),(48.258,-2.588),(48.044,-3.173),(47.863,-4.159),(47.792,-5.399),(47.757,-25.719),(47.597,-26.959),(47.304,-27.889),(46.837,-28.628),(46.242,-29.135),(45.634,-29.434),(44.918,-29.638),(44.086,-29.764),(42.899,-29.828)])
P(waveguide_1, DevRec, [(7.4,-30.83),(6.08,-30.786),(4.911,-30.635),(3.859,-30.332),(2.922,-29.814),(2.165,-29.057),(1.647,-28.12),(1.344,-27.068),(1.193,-25.898),(1.15,-24.582),(1.151,-5.79),(1.114,-4.62),(1.003,-3.749),(0.832,-3.141),(0.628,-2.764),(0.385,-2.521),(0.008,-2.317),(-0.6,-2.146),(-1.47,-2.035),(-4.27,-2),(-4.27,0.5),(-1.282,0.457),(-0.112,0.306),(0.94,0.003),(1.877,-0.515),(2.634,-1.272),(3.152,-2.209),(3.455,-3.261),(3.606,-4.43),(3.649,-5.708),(3.65,-24.578),(3.685,-25.71),(3.796,-26.58),(3.967,-27.188),(4.171,-27.565),(4.414,-27.808),(4.791,-28.012),(5.399,-28.183),(6.27,-28.294),(7.44,-28.331),(42.539,-28.33),(43.67,-28.295),(44.54,-28.184),(45.148,-28.013),(45.525,-27.809),(45.768,-27.566),(45.972,-27.189),(46.143,-26.581),(46.254,-25.71),(46.29,-5.748),(46.333,-4.432),(46.484,-3.262),(46.787,-2.21),(47.305,-1.273),(48.062,-0.516),(48.999,0.002),(50.051,0.305),(51.22,0.456),(54.53,0.5),(54.53,-2),(51.41,-2.036),(50.539,-2.147),(49.931,-2.318),(49.554,-2.522),(49.311,-2.765),(49.107,-3.142),(48.936,-3.75),(48.825,-4.62),(48.79,-5.752),(48.79,-24.58),(48.746,-25.9),(48.595,-27.069),(48.292,-28.121),(47.774,-29.058),(47.017,-29.815),(46.08,-30.333),(45.028,-30.636),(43.858,-30.787),(42.541,-30.83)])
waveguide_1.add(gdstk.FlexPath([(-4.22,-0.75),(-4.32,-0.75)], 0.5, ends="flush", simple_path=True, layer=1, datatype=10))  # PinRec
waveguide_1.add(gdstk.FlexPath([(54.48,-0.75),(54.58,-0.75)], 0.5, ends="flush", simple_path=True, layer=1, datatype=10))  # PinRec
waveguide_1.add(gdstk.Label('pin1', (-4.27,-0.75), layer=1, texttype=10))
waveguide_1.add(gdstk.Label('pin2', (54.53,-0.75), layer=1, texttype=10))
waveguide_1.add(gdstk.Label('Lumerical_INTERCONNECT_library=Design kits/ebeam', (-4.27,-0.75), layer=68, texttype=0))
waveguide_1.add(gdstk.Label('Component=ebeam_wg_integral_1550', (-4.27,-0.25), layer=68, texttype=0))
waveguide_1.add(gdstk.Label('Spice_param:wg_length=110.264u wg_width=0.500u points="[[-4.27,-0.75],[2.4,-0.75],[2.4,-29.58],[47.54,-29.58],[47.54,-0.75],[54.53,-0.75]]" radius=5.0', (-4.27,-1.25), layer=68, texttype=0))

waveguide_2 = lib.new_cell('Waveguide$2')
P(waveguide_2, Si, [(7.397,-29.83),(6.261,-29.797),(5.284,-29.687),(4.454,-29.485),(3.825,-29.21),(3.248,-28.782),(2.845,-28.282),(2.546,-27.674),(2.342,-26.958),(2.216,-26.126),(2.152,-24.939),(2.142,-5.173),(2.015,-3.718),(1.76,-2.768),(1.532,-2.315),(1.203,-1.907),(0.834,-1.617),(0.318,-1.364),(-0.404,-1.165),(-1.394,-1.038),(-4.27,-1),(-4.27,-0.5),(-1.462,-0.532),(-0.485,-0.642),(0.268,-0.819),(0.911,-1.084),(1.447,-1.452),(1.874,-1.927),(2.224,-2.582),(2.522,-3.726),(2.642,-5.159),(2.65,-24.699),(2.688,-25.786),(2.815,-26.776),(3.014,-27.498),(3.267,-28.014),(3.638,-28.462),(4.069,-28.774),(4.681,-29.034),(5.368,-29.195),(6.193,-29.291),(7.401,-29.33),(42.891,-29.328),(43.844,-29.284),(44.736,-29.165),(45.458,-28.966),(45.974,-28.713),(46.499,-28.254),(46.875,-27.623),(47.124,-26.777),(47.251,-25.787),(47.292,-5.391),(47.378,-4.007),(47.585,-2.961),(47.874,-2.239),(48.337,-1.599),(48.9,-1.157),(49.521,-0.87),(50.334,-0.659),(51.401,-0.533),(54.53,-0.5),(54.53,-1),(51.235,-1.047),(50.186,-1.199),(49.497,-1.415),(49.005,-1.684),(48.58,-2.077),(48.258,-2.588),(48.044,-3.173),(47.863,-4.159),(47.792,-5.399),(47.757,-25.719),(47.597,-26.959),(47.304,-27.889),(46.837,-28.628),(46.242,-29.135),(45.634,-29.434),(44.918,-29.638),(44.086,-29.764),(42.899,-29.828)])
P(waveguide_2, DevRec, [(7.4,-30.83),(6.08,-30.786),(4.911,-30.635),(3.859,-30.332),(2.922,-29.814),(2.165,-29.057),(1.647,-28.12),(1.344,-27.068),(1.193,-25.898),(1.15,-24.582),(1.151,-5.79),(1.114,-4.62),(1.003,-3.749),(0.832,-3.141),(0.628,-2.764),(0.385,-2.521),(0.008,-2.317),(-0.6,-2.146),(-1.47,-2.035),(-4.27,-2),(-4.27,0.5),(-1.282,0.457),(-0.112,0.306),(0.94,0.003),(1.877,-0.515),(2.634,-1.272),(3.152,-2.209),(3.455,-3.261),(3.606,-4.43),(3.649,-5.708),(3.65,-24.578),(3.685,-25.71),(3.796,-26.58),(3.967,-27.188),(4.171,-27.565),(4.414,-27.808),(4.791,-28.012),(5.399,-28.183),(6.27,-28.294),(7.44,-28.331),(42.539,-28.33),(43.67,-28.295),(44.54,-28.184),(45.148,-28.013),(45.525,-27.809),(45.768,-27.566),(45.972,-27.189),(46.143,-26.581),(46.254,-25.71),(46.29,-5.748),(46.333,-4.432),(46.484,-3.262),(46.787,-2.21),(47.305,-1.273),(48.062,-0.516),(48.999,0.002),(50.051,0.305),(51.22,0.456),(54.53,0.5),(54.53,-2),(51.41,-2.036),(50.539,-2.147),(49.931,-2.318),(49.554,-2.522),(49.311,-2.765),(49.107,-3.142),(48.936,-3.75),(48.825,-4.62),(48.79,-5.752),(48.79,-24.58),(48.746,-25.9),(48.595,-27.069),(48.292,-28.121),(47.774,-29.058),(47.017,-29.815),(46.08,-30.333),(45.028,-30.636),(43.858,-30.787),(42.541,-30.83)])
waveguide_2.add(gdstk.FlexPath([(-4.22,-0.75),(-4.32,-0.75)], 0.5, ends="flush", simple_path=True, layer=1, datatype=10))  # PinRec
waveguide_2.add(gdstk.FlexPath([(54.48,-0.75),(54.58,-0.75)], 0.5, ends="flush", simple_path=True, layer=1, datatype=10))  # PinRec
waveguide_2.add(gdstk.Label('pin1', (-4.27,-0.75), layer=1, texttype=10))
waveguide_2.add(gdstk.Label('pin2', (54.53,-0.75), layer=1, texttype=10))
waveguide_2.add(gdstk.Label('Lumerical_INTERCONNECT_library=Design kits/ebeam', (-4.27,-0.75), layer=68, texttype=0))
waveguide_2.add(gdstk.Label('Component=ebeam_wg_integral_1550', (-4.27,-0.25), layer=68, texttype=0))
waveguide_2.add(gdstk.Label('Spice_param:wg_length=110.264u wg_width=0.500u points="[[-4.27,-0.75],[2.4,-0.75],[2.4,-29.58],[47.54,-29.58],[47.54,-0.75],[54.53,-0.75]]" radius=5.0', (-4.27,-1.25), layer=68, texttype=0))

waveguide_3 = lib.new_cell('Waveguide$3')
P(waveguide_3, Si, [(69.33,-48.47),(69.33,-47.97),(90.32,-47.97),(91.527,-47.931),(92.517,-47.804),(93.239,-47.605),(93.755,-47.352),(94.203,-46.981),(94.515,-46.55),(94.775,-45.938),(94.936,-45.251),(95.07,-43.339),(95.067,-2.648),(94.935,-0.968),(94.774,-0.281),(94.514,0.331),(94.081,0.883),(93.482,1.282),(92.673,1.552),(91.526,1.712),(69.33,1.75),(69.33,2.25),(90.679,2.248),(92.435,2.108),(93.109,1.955),(93.696,1.734),(94.142,1.475),(94.522,1.152),(94.835,0.762),(95.084,0.309),(95.427,-0.884),(95.562,-2.409),(95.568,-43.579),(95.428,-45.335),(95.275,-46.009),(95.054,-46.596),(94.523,-47.371),(93.766,-47.919),(92.784,-48.259),(91.459,-48.437)])
P(waveguide_3, DevRec, [(69.33,-49.47),(69.33,-46.97),(91.45,-46.934),(92.321,-46.823),(92.929,-46.652),(93.306,-46.448),(93.549,-46.205),(93.753,-45.828),(93.924,-45.22),(94.035,-44.35),(94.07,-43.219),(94.071,-3.04),(94.034,-1.87),(93.923,-0.999),(93.752,-0.391),(93.548,-0.014),(93.305,0.229),(92.928,0.433),(92.32,0.604),(91.45,0.715),(90.318,0.75),(69.33,0.75),(69.33,3.25),(90.322,3.25),(91.638,3.207),(92.808,3.056),(93.86,2.753),(94.797,2.235),(95.554,1.478),(96.072,0.541),(96.375,-0.511),(96.526,-1.68),(96.57,-3),(96.57,-43.221),(96.527,-44.538),(96.376,-45.708),(96.073,-46.76),(95.555,-47.697),(94.798,-48.454),(93.861,-48.972),(92.809,-49.275),(91.64,-49.426),(90.32,-49.47)])
waveguide_3.add(gdstk.FlexPath([(69.38,2),(69.28,2)], 0.5, ends="flush", simple_path=True, layer=1, datatype=10))  # PinRec
waveguide_3.add(gdstk.FlexPath([(69.38,-48.22),(69.28,-48.22)], 0.5, ends="flush", simple_path=True, layer=1, datatype=10))  # PinRec
waveguide_3.add(gdstk.Label('pin1', (69.33,2), layer=1, texttype=10))
waveguide_3.add(gdstk.Label('pin2', (69.33,-48.22), layer=1, texttype=10))
waveguide_3.add(gdstk.Label('Lumerical_INTERCONNECT_library=Design kits/ebeam', (69.33,2), layer=68, texttype=0))
waveguide_3.add(gdstk.Label('Component=ebeam_wg_integral_1550', (69.33,2.5), layer=68, texttype=0))
waveguide_3.add(gdstk.Label('Spice_param:wg_length=99.102u wg_width=0.500u points="[[69.33,2.0],[95.32,2.0],[95.32,-48.22],[69.33,-48.22]]" radius=5.0', (69.33,1.5), layer=68, texttype=0))

mziseries = lib.new_cell('MZIseries')
mziseries.add(gdstk.Reference(ebeam_gc_te1550, (-19.07,2)))
mziseries.add(gdstk.Reference(ebeam_y_1550, (-11.67,2)))
mziseries.add(gdstk.Reference(waveguide, (0,-1.88)))
mziseries.add(gdstk.Reference(ebeam_y_1550, (61.93,2), rotation=pi))
mziseries.add(gdstk.Reference(waveguide_1, (0,0)))
mziseries.add(gdstk.Reference(ebeam_gc_te1550, (-19.07,-48.22)))
mziseries.add(gdstk.Reference(ebeam_y_1550, (-11.67,-48.22)))
mziseries.add(gdstk.Reference(waveguide, (0,-52.1)))
mziseries.add(gdstk.Reference(ebeam_y_1550, (61.93,-48.22), rotation=pi))
mziseries.add(gdstk.Reference(waveguide_2, (0,-50.22)))
mziseries.add(gdstk.Reference(waveguide_3, (0,0)))

lib.write_gds('MZIseries.gds')
